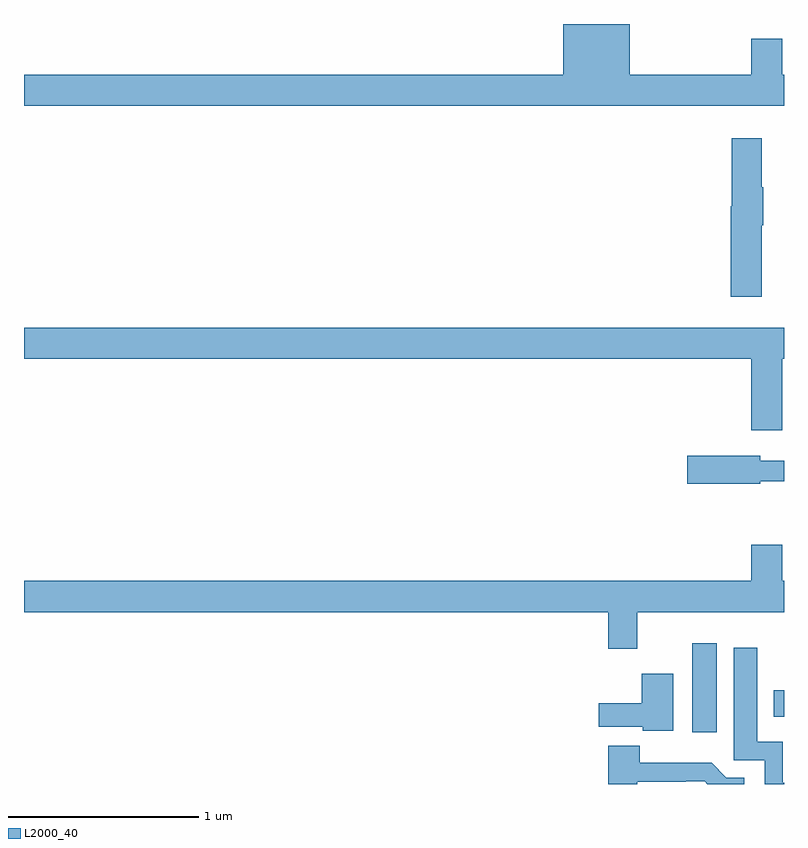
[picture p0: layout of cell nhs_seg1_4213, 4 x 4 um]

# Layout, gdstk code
import gdstk
lib = gdstk.Library(unit=1e-6, precision=1e-09)
def R(c, l, rs):  # rectangles x0, y0, x1, y1
    for r in rs: c.add(gdstk.rectangle(r[:2], r[2:], *l))
def P(c, l, *ps):  # polygons
    for p in ps: c.add(gdstk.Polygon(p, *l))
L2000_40 = (2000, 40)

nhs_seg1_4213 = lib.new_cell('nhs_seg1_4213')
R(nhs_seg1_4213, L2000_40, [(344.516,512.472,344.647,512.941), (344.945,512.552,345,512.692)])
P(nhs_seg1_4213, L2000_40, [(345,515.932),(344.992,515.932),(344.992,516.121),(344.828,516.121),(344.828,515.932),(344.188,515.932),(344.188,516.199),(343.838,516.199),(343.838,515.932),(341,515.932),(341,515.768),(345,515.768)],
  [(344.884,515.141),(344.892,515.141),(344.892,515.341),(344.884,515.341),(344.884,515.599),(344.726,515.599),(344.726,515.241),(344.72,515.241),(344.72,514.764),(344.884,514.764)],
  [(344.992,514.436),(345,514.436),(345,514.6),(341,514.6),(341,514.436),(344.828,514.436),(344.828,514.062),(344.992,514.062)],
  [(344.874,513.792),(345,513.792),(345,513.901),(344.874,513.901),(344.874,513.926),(344.49,513.926),(344.49,513.779),(344.874,513.779)],
  [(344.227,513.104),(345,513.104),(345,513.268),(344.992,513.268),(344.992,513.457),(344.828,513.457),(344.828,513.268),(341,513.268),(341,513.104),(344.075,513.104),(344.075,512.91),(344.227,512.91)],
  [(345,512.206),(344.994,512.206),(344.994,512.422),(344.86,512.422),(344.86,512.917),(344.735,512.917),(344.735,512.325),(344.898,512.325),(344.898,512.199),(345,512.199)],
  [(344.416,512.779),(344.252,512.779),(344.252,512.623),(344.025,512.623),(344.025,512.501),(344.256,512.501),(344.256,512.48),(344.416,512.48)],
  [(344.227,512.211),(344.483,512.211),(344.483,512.214),(344.582,512.214),(344.597,512.199),(344.791,512.199),(344.791,512.232),(344.697,512.232),(344.619,512.311),(344.24,512.311),(344.24,512.401),(344.075,512.401),(344.075,512.199),(344.227,512.199)])

lib.write_gds('nhs_seg1_4213.gds')
